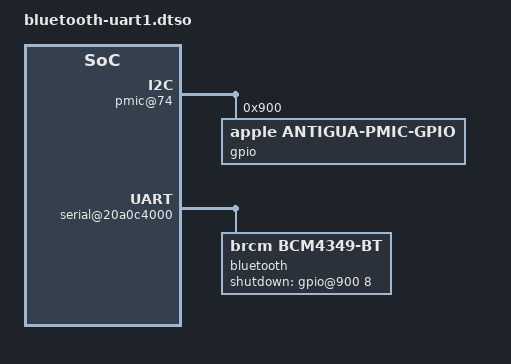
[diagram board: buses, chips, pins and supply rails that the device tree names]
/dts-v1/;
/plugin/;
/*
 * iPhone 6s Bluetooth live-test overlay (fresh boot, apply ONCE, never remove).
 * Needs: fnd_phandle (ps_uart1 phandle 0xf03c), apple_pmic_gpio_t1.ko loaded,
 * firmware at /lib/firmware/brcm/BCM.apple,n71.hcd (running kernel has no
 * BCM4350C5 UART entry, so btbcm asks for the generic name).
 * Raw phandles from /proc/device-tree: aic 0x01, clkref 0x05, pinctrl_ap 0x1f.
 * Running DT pmic@74 still has #size-cells = <1>.
 */
/ {
	fragment@0 {
		target-path = "/soc/i2c@20a110000/pmic@74";
		__overlay__ {
			gpio@900 {
				compatible = "apple,antigua-pmic-gpio";
				reg = <0x900 0x22>;
				gpio-controller;
				#gpio-cells = <2>;
			};
		};
	};

	fragment@1 {
		target-path = "/soc/pinctrl@20f100000";
		__overlay__ {
			bt6s-uart1-pins {
				/* APPLE_PINMUX(24, 1) TX, APPLE_PINMUX(26, 1) RTS */
				pinmux = <0x10018>, <0x1001a>;
			};
		};
	};

	fragment@2 {
		target-path = "/soc";
		__overlay__ {
			serial@20a0c4000 {
				compatible = "apple,s5l-uart";
				reg = <0x2 0x0a0c4000 0x0 0x4000>;
				reg-io-width = <4>;
				interrupt-parent = <0x01>;
				interrupts = <0 193 4>;
				clocks = <0x05>, <0x05>;
				clock-names = "uart", "clk_uart_baud0";
				power-domains = <0xf03c>;
				pinctrl-0 = <&{/fragment@1/__overlay__/bt6s-uart1-pins}>;
				pinctrl-names = "default";
				status = "okay";

				bluetooth {
					/* stand-in for brcm,bcm4350-bt (same match data) */
					compatible = "brcm,bcm4349-bt";
					shutdown-gpios = <&{/fragment@0/__overlay__/gpio@900} 8 0>;
					device-wakeup-gpios = <0x1f 71 0>;
				};
			};
		};
	};
};
